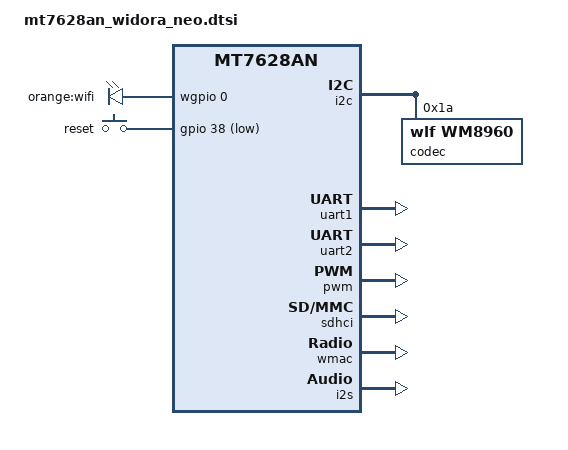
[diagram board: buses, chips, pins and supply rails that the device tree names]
#include "mt7628an.dtsi"

#include <dt-bindings/gpio/gpio.h>
#include <dt-bindings/input/input.h>

/ {
	compatible = "widora,neo", "mediatek,mt7628an-soc";

	aliases {
		led-boot = &led_wifi;
		led-failsafe = &led_wifi;
		led-running = &led_wifi;
		led-upgrade = &led_wifi;
	};

	chosen {
		bootargs = "console=ttyS0,115200";
	};

	leds {
		compatible = "gpio-leds";

		led_wifi: wifi {
			label = "orange:wifi";
			gpios = <&wgpio 0 GPIO_ACTIVE_HIGH>;
			default-state = "on";
		};
	};

	keys {
		compatible = "gpio-keys";

		wps {
			label = "reset";
			gpios = <&gpio 38 GPIO_ACTIVE_LOW>;
			linux,code = <KEY_WPS_BUTTON>;
		};
	};

	wgpio: gpio-wifi {
		compatible = "mediatek,gpio-wifi";
		#address-cells = <1>;
		#size-cells = <0>;
		gpio-controller;
		#gpio-cells = <2>;
	};
};

&state_default {
	gpio {
		groups = "gpio";
		function = "gpio";
	};

	perst {
		groups = "perst";
		function = "gpio";
	};

	refclk {
		groups = "refclk";
		function = "refclk";
	};

	i2s {
		groups = "i2s";
		function = "i2s";
	};

	spis {
		groups = "spis";
		function = "gpio";
	};

	wled_kn {
		groups = "wled_kn";
		function = "gpio";
	};

	wled_an {
		groups = "wled_an";
		function = "wled_an";
	};

	wdt {
		groups = "wdt";
		function = "gpio";
	};
};

&i2c {
	status = "okay";

	codec: wm8960@1a {
		compatible = "wlf,wm8960";
		reg = <0x1a>;
		wlf,shared-lrclk;
		wlf,hp-cfg = <0 0 0>;
		wlf,gpio-cfg = <1 0>;
	};
};

&uart1 {
	status = "okay";
};

&uart2 {
	status = "okay";
};

&pwm {
	status = "okay";
};

&ethernet {
	mtd-mac-address = <&factory 0x28>;
};

&sdhci {
	status = "okay";
	mediatek,cd-low;
};

&wmac {
	status = "okay";
};

&i2s {
	status = "okay";
};

&gdma {
	status = "okay";
};

/ {
	sound {
		compatible = "mediatek,mt762x-wm8960-machine";
		mediatek,platform = <&i2s>;
		mediatek,audio-codec = <&codec>;
		audio-routing =
			"Headphone", "HP_L",
			"Headphone", "HP_R",
			"Speaker", "SPK_LN",
			"Speaker", "SPK_LP",
			"Speaker", "SPK_RN",
			"Speaker", "SPK_RP",
			"Microphone", "MICB",
			"LINPUT1", "Microphone",
			"RINPUT1", "Microphone";
	};
};
